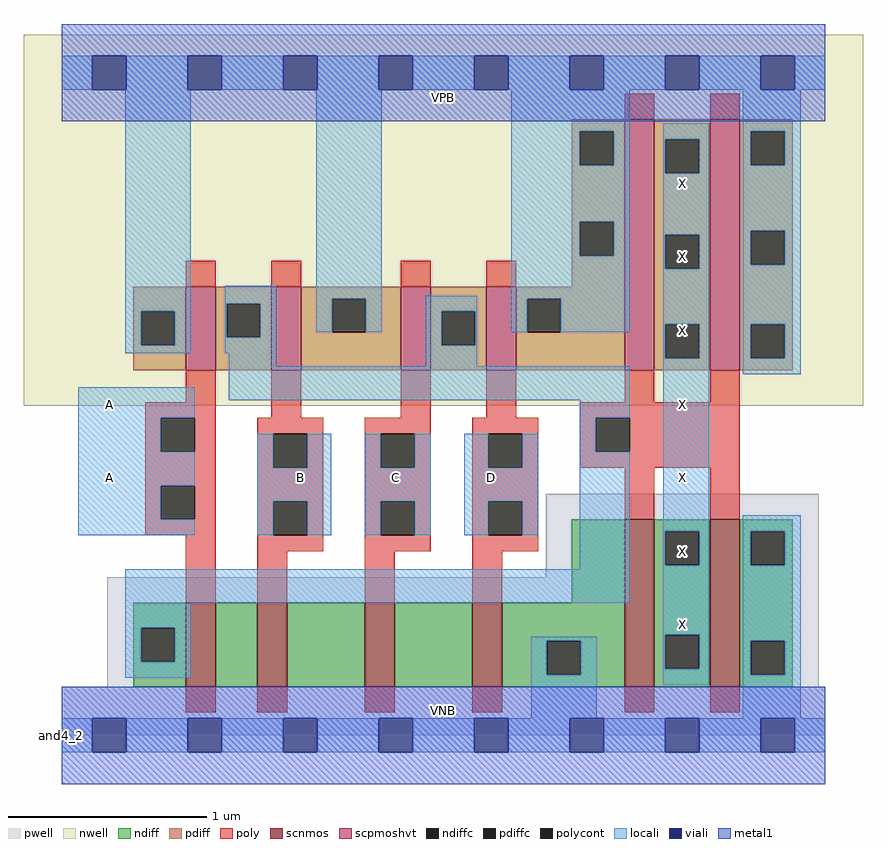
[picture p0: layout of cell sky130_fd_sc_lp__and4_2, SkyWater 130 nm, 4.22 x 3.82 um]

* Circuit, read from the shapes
.subckt sky130_fd_sc_lp__and4_2 A B C D VGND VNB VPB VPWR X
XM1 n1 A n2 VNB sky130_fd_pr__nfet_01v8 w=0.42 l=0.15
XM2 n3 B n1 VNB sky130_fd_pr__nfet_01v8 w=0.42 l=0.15
XM3 n4 C n3 VNB sky130_fd_pr__nfet_01v8 w=0.42 l=0.15
XM4 VGND D n4 VNB sky130_fd_pr__nfet_01v8 w=0.42 l=0.15
XM5 X n2 VGND VNB sky130_fd_pr__nfet_01v8 w=0.84 l=0.15 m=2
XM6 n2 A VPWR VPB sky130_fd_pr__pfet_01v8_hvt w=0.42 l=0.15
XM7 VPWR B n2 VPB sky130_fd_pr__pfet_01v8_hvt w=0.42 l=0.15
XM8 n2 C VPWR VPB sky130_fd_pr__pfet_01v8_hvt w=0.42 l=0.15
XM9 VPWR D n2 VPB sky130_fd_pr__pfet_01v8_hvt w=0.42 l=0.15
XM10 X n2 VPWR VPB sky130_fd_pr__pfet_01v8_hvt w=1.26 l=0.15 m=2
.ends

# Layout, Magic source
magic
tech sky130A
magscale 1 2
<< nwell >>
rect -38 331 806 704
<< pwell >>
rect 487 159 761 243
rect 46 49 761 159
rect 0 0 768 49
<< scnmos >>
rect 125 49 155 133
rect 197 49 227 133
rect 305 49 335 133
rect 413 49 443 133
rect 566 49 596 217
rect 652 49 682 217
<< scpmoshvt >>
rect 125 367 155 451
rect 211 367 241 451
rect 341 367 371 451
rect 427 367 457 451
rect 566 367 596 619
rect 652 367 682 619
<< ndiff >>
rect 513 133 566 217
rect 72 108 125 133
rect 72 74 80 108
rect 114 74 125 108
rect 72 49 125 74
rect 155 49 197 133
rect 227 49 305 133
rect 335 49 413 133
rect 443 95 566 133
rect 443 61 488 95
rect 522 61 566 95
rect 443 49 566 61
rect 596 205 652 217
rect 596 171 607 205
rect 641 171 652 205
rect 596 101 652 171
rect 596 67 607 101
rect 641 67 652 101
rect 596 49 652 67
rect 682 205 735 217
rect 682 171 693 205
rect 727 171 735 205
rect 682 95 735 171
rect 682 61 693 95
rect 727 61 735 95
rect 682 49 735 61
<< pdiff >>
rect 513 607 566 619
rect 513 573 521 607
rect 555 573 566 607
rect 513 516 566 573
rect 513 482 521 516
rect 555 482 566 516
rect 513 451 566 482
rect 72 426 125 451
rect 72 392 80 426
rect 114 392 125 426
rect 72 367 125 392
rect 155 434 211 451
rect 155 400 166 434
rect 200 400 211 434
rect 155 367 211 400
rect 241 439 341 451
rect 241 405 272 439
rect 306 405 341 439
rect 241 367 341 405
rect 371 426 427 451
rect 371 392 382 426
rect 416 392 427 426
rect 371 367 427 392
rect 457 439 566 451
rect 457 405 468 439
rect 502 405 566 439
rect 457 367 566 405
rect 596 599 652 619
rect 596 565 607 599
rect 641 565 652 599
rect 596 503 652 565
rect 596 469 607 503
rect 641 469 652 503
rect 596 413 652 469
rect 596 379 607 413
rect 641 379 652 413
rect 596 367 652 379
rect 682 607 735 619
rect 682 573 693 607
rect 727 573 735 607
rect 682 507 735 573
rect 682 473 693 507
rect 727 473 735 507
rect 682 413 735 473
rect 682 379 693 413
rect 727 379 735 413
rect 682 367 735 379
<< ndiffc >>
rect 80 74 114 108
rect 488 61 522 95
rect 607 171 641 205
rect 607 67 641 101
rect 693 171 727 205
rect 693 61 727 95
<< pdiffc >>
rect 521 573 555 607
rect 521 482 555 516
rect 80 392 114 426
rect 166 400 200 434
rect 272 405 306 439
rect 382 392 416 426
rect 468 405 502 439
rect 607 565 641 599
rect 607 469 641 503
rect 607 379 641 413
rect 693 573 727 607
rect 693 473 727 507
rect 693 379 727 413
<< poly >>
rect 566 619 596 645
rect 652 619 682 645
rect 125 451 155 477
rect 211 451 241 477
rect 341 451 371 477
rect 427 451 457 477
rect 125 335 155 367
rect 84 319 155 335
rect 211 319 241 367
rect 341 319 371 367
rect 427 319 457 367
rect 566 335 596 367
rect 652 335 682 367
rect 521 319 682 335
rect 84 285 100 319
rect 134 285 155 319
rect 84 251 155 285
rect 84 217 100 251
rect 134 217 155 251
rect 84 201 155 217
rect 125 133 155 201
rect 197 303 263 319
rect 197 269 213 303
rect 247 269 263 303
rect 197 235 263 269
rect 197 201 213 235
rect 247 201 263 235
rect 197 185 263 201
rect 305 303 371 319
rect 305 269 321 303
rect 355 269 371 303
rect 305 235 371 269
rect 305 201 321 235
rect 355 201 371 235
rect 305 185 371 201
rect 413 303 479 319
rect 413 269 429 303
rect 463 269 479 303
rect 521 285 537 319
rect 571 285 682 319
rect 521 269 682 285
rect 413 235 479 269
rect 413 201 429 235
rect 463 201 479 235
rect 566 217 596 269
rect 652 217 682 269
rect 413 185 479 201
rect 197 133 227 185
rect 305 133 335 185
rect 413 133 443 185
rect 125 23 155 49
rect 197 23 227 49
rect 305 23 335 49
rect 413 23 443 49
rect 566 23 596 49
rect 652 23 682 49
<< polycont >>
rect 100 285 134 319
rect 100 217 134 251
rect 213 269 247 303
rect 213 201 247 235
rect 321 269 355 303
rect 321 201 355 235
rect 429 269 463 303
rect 537 285 571 319
rect 429 201 463 235
<< locali >>
rect 0 649 31 683
rect 65 649 127 683
rect 161 649 223 683
rect 257 649 319 683
rect 353 649 415 683
rect 449 649 511 683
rect 545 649 607 683
rect 641 649 703 683
rect 737 649 768 683
rect 64 426 130 649
rect 64 392 80 426
rect 114 392 130 426
rect 64 384 130 392
rect 164 434 216 452
rect 164 400 166 434
rect 200 400 216 434
rect 256 439 322 649
rect 452 607 571 649
rect 452 573 521 607
rect 555 573 571 607
rect 452 516 571 573
rect 452 482 521 516
rect 555 482 571 516
rect 256 405 272 439
rect 306 405 322 439
rect 366 426 418 442
rect 164 384 216 400
rect 168 371 216 384
rect 366 392 382 426
rect 416 392 418 426
rect 452 439 571 482
rect 452 405 468 439
rect 502 405 571 439
rect 605 599 651 615
rect 605 565 607 599
rect 641 565 651 599
rect 605 503 651 565
rect 605 469 607 503
rect 641 469 651 503
rect 605 413 651 469
rect 366 371 418 392
rect 605 379 607 413
rect 641 379 651 413
rect 17 319 134 350
rect 168 337 571 371
rect 17 285 100 319
rect 521 319 571 337
rect 17 251 134 285
rect 17 217 100 251
rect 17 201 134 217
rect 197 269 213 303
rect 247 269 271 303
rect 197 235 271 269
rect 197 201 213 235
rect 247 201 271 235
rect 305 269 321 303
rect 355 269 371 303
rect 305 235 371 269
rect 305 201 321 235
rect 355 201 371 235
rect 405 269 429 303
rect 463 269 479 303
rect 405 235 479 269
rect 405 201 429 235
rect 463 201 479 235
rect 521 285 537 319
rect 521 167 571 285
rect 64 133 571 167
rect 605 205 651 379
rect 685 607 743 649
rect 685 573 693 607
rect 727 573 743 607
rect 685 507 743 573
rect 685 473 693 507
rect 727 473 743 507
rect 685 413 743 473
rect 685 379 693 413
rect 727 379 743 413
rect 685 363 743 379
rect 605 171 607 205
rect 641 171 651 205
rect 64 108 130 133
rect 64 74 80 108
rect 114 74 130 108
rect 605 101 651 171
rect 64 58 130 74
rect 472 95 538 99
rect 472 61 488 95
rect 522 61 538 95
rect 472 17 538 61
rect 605 67 607 101
rect 641 67 651 101
rect 605 51 651 67
rect 685 205 743 221
rect 685 171 693 205
rect 727 171 743 205
rect 685 95 743 171
rect 685 61 693 95
rect 727 61 743 95
rect 685 17 743 61
rect 0 -17 31 17
rect 65 -17 127 17
rect 161 -17 223 17
rect 257 -17 319 17
rect 353 -17 415 17
rect 449 -17 511 17
rect 545 -17 607 17
rect 641 -17 703 17
rect 737 -17 768 17
<< viali >>
rect 31 649 65 683
rect 127 649 161 683
rect 223 649 257 683
rect 319 649 353 683
rect 415 649 449 683
rect 511 649 545 683
rect 607 649 641 683
rect 703 649 737 683
rect 31 -17 65 17
rect 127 -17 161 17
rect 223 -17 257 17
rect 319 -17 353 17
rect 415 -17 449 17
rect 511 -17 545 17
rect 607 -17 641 17
rect 703 -17 737 17
<< metal1 >>
rect 0 683 768 715
rect 0 649 31 683
rect 65 649 127 683
rect 161 649 223 683
rect 257 649 319 683
rect 353 649 415 683
rect 449 649 511 683
rect 545 649 607 683
rect 641 649 703 683
rect 737 649 768 683
rect 0 617 768 649
rect 0 17 768 49
rect 0 -17 31 17
rect 65 -17 127 17
rect 161 -17 223 17
rect 257 -17 319 17
rect 353 -17 415 17
rect 449 -17 511 17
rect 545 -17 607 17
rect 641 -17 703 17
rect 737 -17 768 17
rect 0 -49 768 -17
<< labels >>
flabel pwell s 0 0 768 49 0 FreeSans 200 0 0 0 VNB
port 6 nsew ground bidirectional
flabel nwell s 0 617 768 666 0 FreeSans 200 0 0 0 VPB
port 7 nsew power bidirectional
rlabel comment s 0 0 0 0 4 and4_2
flabel metal1 s 0 617 768 666 0 FreeSans 340 0 0 0 VPWR
port 8 nsew power bidirectional
flabel metal1 s 0 0 768 49 0 FreeSans 340 0 0 0 VGND
port 5 nsew ground bidirectional
flabel locali s 607 94 641 128 0 FreeSans 340 0 0 0 X
port 9 nsew signal output
flabel locali s 607 168 641 202 0 FreeSans 340 0 0 0 X
port 9 nsew signal output
flabel locali s 607 242 641 276 0 FreeSans 340 0 0 0 X
port 9 nsew signal output
flabel locali s 607 316 641 350 0 FreeSans 340 0 0 0 X
port 9 nsew signal output
flabel locali s 607 390 641 424 0 FreeSans 340 0 0 0 X
port 9 nsew signal output
flabel locali s 607 464 641 498 0 FreeSans 340 0 0 0 X
port 9 nsew signal output
flabel locali s 607 538 641 572 0 FreeSans 340 0 0 0 X
port 9 nsew signal output
flabel locali s 31 242 65 276 0 FreeSans 340 0 0 0 A
port 1 nsew signal input
flabel locali s 31 316 65 350 0 FreeSans 340 0 0 0 A
port 1 nsew signal input
flabel locali s 223 242 257 276 0 FreeSans 340 0 0 0 B
port 2 nsew signal input
flabel locali s 319 242 353 276 0 FreeSans 340 0 0 0 C
port 3 nsew signal input
flabel locali s 415 242 449 276 0 FreeSans 340 0 0 0 D
port 4 nsew signal input
<< properties >>
string LEFsite unit
string LEFclass CORE
string FIXED_BBOX 0 0 768 666
string GDS_FILE $PDKPATH/libs.ref/sky130_fd_sc_lp/gds/sky130_fd_sc_lp.gds
string LEFsymmetry X Y R90
string GDS_END 6278778
string GDS_START 6271606
<< end >>
